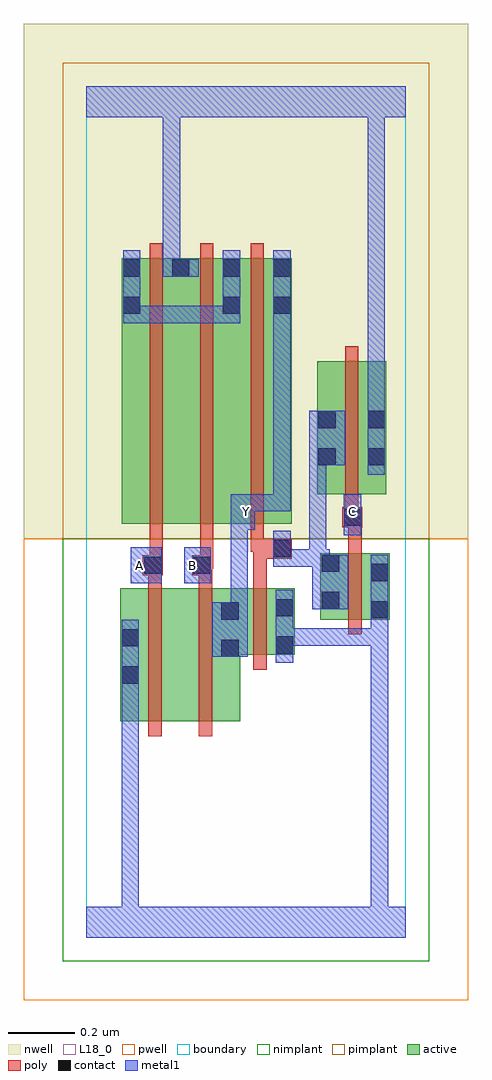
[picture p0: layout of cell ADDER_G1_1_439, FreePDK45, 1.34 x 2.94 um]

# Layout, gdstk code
import gdstk
lib = gdstk.Library(unit=1e-6, precision=1e-09)
def R(c, l, rs):  # rectangles x0, y0, x1, y1
    for r in rs: c.add(gdstk.rectangle(r[:2], r[2:], *l))
def A(c, l, x, y, w, h, nx, ny, dx, dy):  # array of equal rectangles
    R(c, l, [(x+i*dx, y+j*dy, x+i*dx+w, y+j*dy+h) for i in range(nx) for j in range(ny)])
active = (1, 0)
pwell = (2, 0)
nwell = (3, 0)
nimplant = (4, 0)
pimplant = (5, 0)
poly = (9, 0)
contact = (10, 0)
metal1 = (11, 0)
L18_0 = (18, 0)
boundary = (235, 0)

adder_g1_1_439 = lib.new_cell('ADDER_G1_1_439')
R(adder_g1_1_439, active, [(0.102,0.65,0.282,1.05), (0.102,0.65,0.162,1.05), (0.282,0.65,0.462,1.05), (0.402,0.65,0.462,1.012), (0.402,0.85,0.626,1.05), (0.566,0.85,0.626,1.05), (0.704,0.956,0.764,1.156), (0.704,0.956,0.912,1.156), (0.852,0.956,0.912,1.156), (0.106,1.244,0.166,2.044), (0.106,1.244,0.314,2.044), (0.254,1.244,0.466,2.044), (0.406,1.244,0.618,2.044), (0.558,1.244,0.618,2.044), (0.694,1.334,0.902,1.734), (0.694,1.334,0.754,1.644), (0.842,1.334,0.902,1.734), (0.254,1.686,0.314,2.044), (0.406,1.686,0.466,2.044)])
R(adder_g1_1_439, pwell, [(-0.188,-0.188,1.148,1.2)])
R(adder_g1_1_439, nwell, [(-0.188,1.2,1.148,2.748)])
R(adder_g1_1_439, nimplant, [(-0.072,-0.072,1.032,1.2)])
R(adder_g1_1_439, pimplant, [(-0.072,1.2,1.032,2.632)])
A(adder_g1_1_439, poly, 0.19, 1.2, 0.04, 0.888, 3, 1, 0.152, 0)
R(adder_g1_1_439, poly, [(0.186,0.606,0.226,1.094), (0.338,0.606,0.378,1.094), (0.502,0.806,0.542,1.094), (0.788,0.912,0.828,1.2), (0.186,1.054,0.226,1.13), (0.338,1.054,0.378,1.13), (0.502,1.054,0.542,1.18), (0.17,1.09,0.23,1.15), (0.186,1.09,0.226,1.13), (0.186,1.09,0.226,1.13), (0.318,1.09,0.378,1.15), (0.19,1.11,0.23,1.24), (0.338,1.11,0.378,1.15), (0.338,1.11,0.382,1.15), (0.342,1.11,0.382,1.24), (0.502,1.14,0.618,1.2), (0.494,1.16,0.534,1.24), (0.494,1.16,0.542,1.2), (0.502,1.16,0.542,1.2), (0.788,1.16,0.828,1.274), (0.77,1.234,0.83,1.294), (0.788,1.234,0.828,1.274), (0.788,1.234,0.828,1.274), (0.778,1.254,0.818,1.33), (0.778,1.29,0.818,1.778)])
A(adder_g1_1_439, contact, 0.258, 1.988, 0.052, 0.052, 3, 1, 0.152, 0)
R(adder_g1_1_439, contact, [(0.106,0.764,0.158,0.816), (0.406,0.844,0.458,0.896), (0.57,0.854,0.622,0.906), (0.106,0.876,0.158,0.928), (0.406,0.956,0.458,1.008), (0.856,0.96,0.908,1.012), (0.57,0.966,0.622,1.018), (0.708,0.988,0.76,1.04), (0.856,1.072,0.908,1.124), (0.174,1.094,0.226,1.146), (0.322,1.094,0.374,1.146), (0.708,1.1,0.76,1.152), (0.562,1.144,0.614,1.196), (0.774,1.238,0.826,1.29), (0.698,1.42,0.75,1.472), (0.846,1.42,0.898,1.472), (0.698,1.532,0.75,1.584), (0.846,1.532,0.898,1.584), (0.11,1.876,0.162,1.928), (0.41,1.876,0.462,1.928), (0.562,1.876,0.614,1.928), (0.11,1.988,0.162,2.04)])
R(adder_g1_1_439, metal1, [(0,0,0.96,0.092), (0.106,0.04,0.158,0.092), (0.106,0.04,0.158,0.092), (0.106,0.04,0.158,0.092), (0.106,0.04,0.158,0.092), (0.106,0.04,0.158,0.092), (0.106,0.04,0.158,0.092), (0.106,0.04,0.158,0.092), (0.106,0.04,0.158,0.092), (0.106,0.04,0.158,0.092), (0.106,0.04,0.158,0.092), (0.106,0.04,0.158,0.092), (0.106,0.04,0.158,0.092), (0.106,0.04,0.158,0.788), (0.856,0.04,0.908,0.092), (0.856,0.04,0.908,0.092), (0.856,0.04,0.908,0.092), (0.856,0.04,0.908,0.092), (0.856,0.04,0.908,0.092), (0.856,0.04,0.908,0.092), (0.856,0.04,0.908,0.092), (0.856,0.04,0.908,0.092), (0.856,0.04,0.908,0.092), (0.856,0.04,0.908,0.092), (0.856,0.04,0.908,0.092), (0.856,0.04,0.908,0.092), (0.856,0.04,0.908,0.092), (0.856,0.04,0.908,0.092), (0.856,0.04,0.908,0.984), (0.106,0.736,0.158,0.956), (0.57,0.826,0.622,1.046), (0.378,0.844,0.486,1.008), (0.57,0.878,0.788,0.93), (0.736,0.878,0.788,0.93), (0.736,0.878,0.908,0.93), (0.856,0.878,0.908,0.984), (0.856,0.932,0.908,0.984), (0.856,0.932,0.908,0.984), (0.856,0.932,0.908,0.984), (0.856,0.932,0.908,1.152), (0.434,0.956,0.486,1.278), (0.68,0.988,0.788,1.152), (0.134,1.066,0.226,1.174), (0.294,1.066,0.374,1.174), (0.68,1.1,0.732,1.168), (0.562,1.116,0.616,1.168), (0.562,1.116,0.614,1.224), (0.564,1.116,0.616,1.168), (0.564,1.116,0.722,1.168), (0.67,1.116,0.722,1.168), (0.67,1.116,0.722,1.168), (0.67,1.116,0.722,1.472), (0.67,1.116,0.732,1.168), (0.774,1.21,0.826,1.334), (0.434,1.226,0.506,1.334), (0.452,1.282,0.504,1.334), (0.452,1.282,0.504,1.334), (0.452,1.282,0.504,1.334), (0.452,1.282,0.504,1.334), (0.452,1.282,0.614,1.334), (0.562,1.282,0.614,1.334), (0.562,1.282,0.614,1.9), (0.846,1.392,0.898,1.612), (0.67,1.42,0.778,1.584), (0.846,1.56,0.898,2.52), (0.846,1.56,0.898,1.612), (0.846,1.56,0.898,1.612), (0.846,1.56,0.898,1.612), (0.846,1.56,0.898,1.612), (0.846,1.56,0.898,1.612), (0.846,1.56,0.898,1.612), (0.846,1.56,0.898,1.612), (0.846,1.56,0.898,1.612), (0.846,1.56,0.898,1.612), (0.846,1.56,0.898,1.612), (0.846,1.56,0.898,1.612), (0.846,1.56,0.898,1.612), (0.846,1.56,0.898,1.612), (0.846,1.56,0.898,1.612), (0.11,1.848,0.162,1.9), (0.11,1.848,0.162,1.9), (0.11,1.848,0.162,2.068), (0.11,1.848,0.272,1.9), (0.22,1.848,0.272,1.9), (0.22,1.848,0.272,1.9), (0.22,1.848,0.272,1.9), (0.22,1.848,0.462,1.9), (0.41,1.848,0.462,2.068), (0.562,1.848,0.614,2.068), (0.23,1.988,0.282,2.04), (0.23,1.988,0.282,2.04), (0.23,1.988,0.282,2.52), (0.23,1.988,0.338,2.04), (0,2.468,0.96,2.56), (0.23,2.468,0.282,2.52), (0.23,2.468,0.282,2.52), (0.23,2.468,0.282,2.52), (0.23,2.468,0.282,2.52), (0.23,2.468,0.282,2.52), (0.23,2.468,0.282,2.52), (0.846,2.468,0.898,2.52), (0.846,2.468,0.898,2.52)])
R(adder_g1_1_439, L18_0, [(0,0,0.96,0.092), (0.106,0.04,0.158,0.092), (0.106,0.04,0.158,0.092), (0.106,0.04,0.158,0.092), (0.106,0.04,0.158,0.092), (0.106,0.04,0.158,0.092), (0.106,0.04,0.158,0.092), (0.106,0.04,0.158,0.092), (0.106,0.04,0.158,0.092), (0.106,0.04,0.158,0.092), (0.106,0.04,0.158,0.092), (0.106,0.04,0.158,0.092), (0.106,0.04,0.158,0.092), (0.106,0.04,0.158,0.788), (0.856,0.04,0.908,0.092), (0.856,0.04,0.908,0.092), (0.856,0.04,0.908,0.092), (0.856,0.04,0.908,0.092), (0.856,0.04,0.908,0.092), (0.856,0.04,0.908,0.092), (0.856,0.04,0.908,0.092), (0.856,0.04,0.908,0.092), (0.856,0.04,0.908,0.092), (0.856,0.04,0.908,0.092), (0.856,0.04,0.908,0.092), (0.856,0.04,0.908,0.092), (0.856,0.04,0.908,0.092), (0.856,0.04,0.908,0.092), (0.856,0.04,0.908,0.984), (0.106,0.736,0.158,0.956), (0.57,0.826,0.622,1.046), (0.378,0.844,0.486,1.008), (0.57,0.878,0.788,0.93), (0.736,0.878,0.788,0.93), (0.736,0.878,0.908,0.93), (0.856,0.878,0.908,0.984), (0.856,0.932,0.908,0.984), (0.856,0.932,0.908,0.984), (0.856,0.932,0.908,0.984), (0.856,0.932,0.908,1.152), (0.434,0.956,0.486,1.278), (0.134,1.066,0.226,1.174), (0.294,1.066,0.374,1.174), (0.134,1.094,0.186,1.146), (0.294,1.094,0.346,1.146), (0.774,1.21,0.826,1.334), (0.434,1.226,0.506,1.334), (0.454,1.254,0.506,1.306), (0.774,1.254,0.826,1.306), (0.452,1.282,0.504,1.334), (0.452,1.282,0.504,1.334), (0.452,1.282,0.504,1.334), (0.452,1.282,0.504,1.334), (0.452,1.282,0.614,1.334), (0.562,1.282,0.614,1.334), (0.562,1.282,0.614,1.9), (0.846,1.392,0.898,1.612), (0.846,1.56,0.898,1.612), (0.846,1.56,0.898,1.612), (0.846,1.56,0.898,1.612), (0.846,1.56,0.898,1.612), (0.846,1.56,0.898,1.612), (0.846,1.56,0.898,1.612), (0.846,1.56,0.898,1.612), (0.846,1.56,0.898,1.612), (0.846,1.56,0.898,1.612), (0.846,1.56,0.898,1.612), (0.846,1.56,0.898,1.612), (0.846,1.56,0.898,1.612), (0.846,1.56,0.898,1.612), (0.846,1.56,0.898,1.612), (0.846,1.56,0.898,2.52), (0.562,1.848,0.614,2.068), (0.23,1.988,0.282,2.04), (0.23,1.988,0.282,2.04), (0.23,1.988,0.338,2.04), (0.23,1.988,0.282,2.52), (0,2.468,0.96,2.56), (0.23,2.468,0.282,2.52), (0.23,2.468,0.282,2.52), (0.23,2.468,0.282,2.52), (0.23,2.468,0.282,2.52), (0.23,2.468,0.282,2.52), (0.23,2.468,0.282,2.52), (0.846,2.468,0.898,2.52), (0.846,2.468,0.898,2.52)])
R(adder_g1_1_439, boundary, [(0,0,0.96,2.56)])
adder_g1_1_439.add(gdstk.Label('A', (0.16,1.12), layer=11, texttype=0))
adder_g1_1_439.add(gdstk.Label('B', (0.32,1.12), layer=11, texttype=0))
adder_g1_1_439.add(gdstk.Label('C', (0.8,1.28), layer=11, texttype=0))
adder_g1_1_439.add(gdstk.Label('Y', (0.48,1.28), layer=11, texttype=0))

lib.write_gds('ADDER_G1_1_439.gds')
